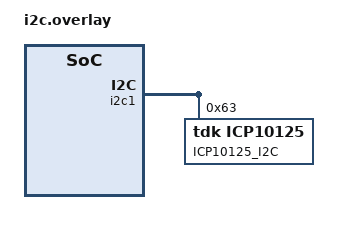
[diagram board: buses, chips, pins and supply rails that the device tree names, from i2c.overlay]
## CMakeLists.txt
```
# Copyright (c) 2022 Mizuki AGAWA <agawa.mizuki@fujitsu.com>
# SPDX-License-Identifier: Apache-2.0

cmake_minimum_required(VERSION 3.20.0)
find_package(Zephyr REQUIRED HINTS $ENV{ZEPHYR_BASE})
project(icp10125)

FILE(GLOB app_sources src/*.c)
target_sources(app PRIVATE ${app_sources})
```

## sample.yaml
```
sample:
  name: ICP10125 Sensor sample
tests:
  sample.sensor.icp10125:
    harness: console
    tags: sensors
    platform_allow: adafruit_feather_m0_basic_proto
    integration_platforms:
      - adafruit_feather_m0_basic_proto
    harness_config:
        type: one_line
        regex:
            - "temp: (.*); press: (.*); humidity: (.*)"
        fixture: fixture_i2c_icp10125
  sample.sensor.icp10125.spi:
    harness: console
    tags: sensors
    depends_on: spi icp10125
    extra_args: "DTC_OVERLAY_FILE=arduino_spi.overlay"
    harness_config:
        type: one_line
        regex:
            - "temp: (.*); press: (.*); humidity: (.*)"
        fixture: fixture_spi_icp10125
```

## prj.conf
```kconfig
CONFIG_I2C=y
CONFIG_SENSOR=y
CONFIG_ICP10125=y
CONFIG_ICP10125_CRC_CHECK=y
```

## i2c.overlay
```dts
/*
 * Copyright (c) 2022 Mizuki AGAWA <agawa.mizuki@fujitsu.com>
 *
 * SPDX-License-Identifier: Apache-2.0
 */

&i2c1 {
	status = "okay";
	icp10125@63 {
		compatible = "tdk,icp10125";
		reg = <0x63>;
		label = "ICP10125_I2C";
		op-mode-temperature = "normal";
		op-mode-pressure = "normal";
	};
};
```

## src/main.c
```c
/*
 * Copyright (c) 2022 Mizuki AGAWA <agawa.mizuki@fujitsu.com>
 *
 * SPDX-License-Identifier: Apache-2.0
 */

#include <zephyr.h>
#include <device.h>
#include <devicetree.h>
#include <drivers/sensor.h>

static const struct device *get_icp10125_device(void)
{
	const struct device *dev = DEVICE_DT_GET_ANY(tdk_icp10125);

	if (dev == NULL) {
		printk("\nError: no device found.\n");
		return NULL;
	}

	if (!device_is_ready(dev)) {
		printk("\nError: Device \"%s\" is not ready; "
		       "check the driver initialization logs for errors.\n",
		       dev->name);
		return NULL;
	}

	printk("Found device \"%s\", getting sensor data\n", dev->name);
	return dev;
}

void main(void)
{
	const struct device *dev = get_icp10125_device();
	if (dev == NULL) {
		printk("dev ==null \n");
		return;
	}

	while (1) {
		struct sensor_value temp, press;

		sensor_sample_fetch_chan(dev, SENSOR_CHAN_AMBIENT_TEMP);
		sensor_channel_get(dev, SENSOR_CHAN_AMBIENT_TEMP, &temp);
		sensor_sample_fetch_chan(dev, SENSOR_CHAN_PRESS);
		sensor_channel_get(dev, SENSOR_CHAN_PRESS, &press);
		printk("temp: %d.%06d; press %d.%06d;\n",temp.val1, temp.val2, press.val1, press.val2);
		k_sleep(K_MSEC(1000));
	}
}
```
